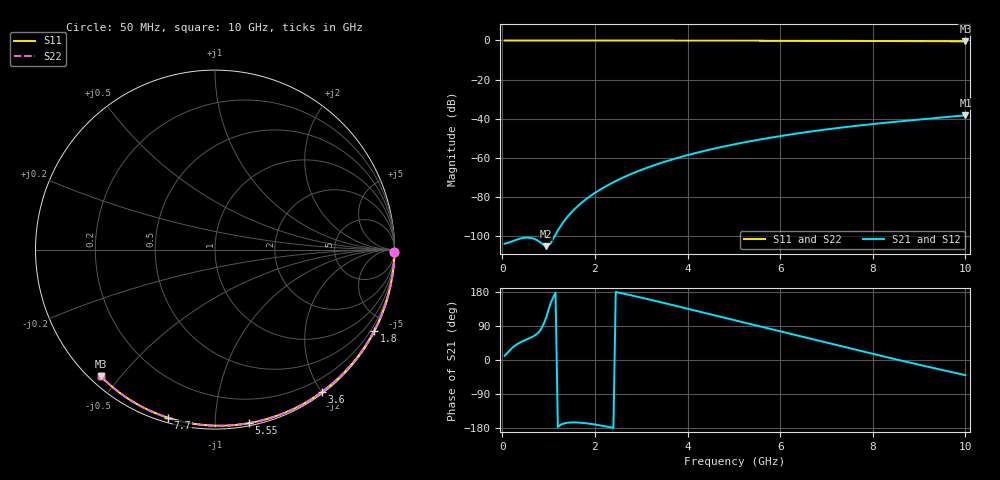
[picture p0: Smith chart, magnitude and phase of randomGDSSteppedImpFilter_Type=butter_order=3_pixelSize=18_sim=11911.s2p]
! freq	dB(S11)	phase(S11)	dB(S12)	phase(S12)
!  dB(S21)	phase(S21)	dB(S22)	phase(S22)
!S-par simulation data
#  GHz  S  DB  R 50
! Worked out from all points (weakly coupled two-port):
!   200 points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, 50 MHz to 10 GHz, reference 50 ohm
!   highest |S21| = -38.33 dB at 10 GHz (marker M1); lowest = -105.4 dB at 950 MHz (marker M2)
!   lowest |S11| = -0.4 dB at 10 GHz (marker M3), VSWR 39.00, Z = 1.54 - j22.2 ohm
!   |S11| at or under -10 dB: nowhere
!   |S22| runs from -0.4 to 0.0 dB; largest |S21 - S12| = 0
!   S11 on the Smith chart (normalised r, x): 50 MHz: open; 1.8 GHz: 0.04, -4.15; 3.6 GHz: 0.02, -2.01; 5.55 GHz: 0.02, -1.21; 7.7 GHz: 0.02, -0.76; 10 GHz: 0.03, -0.44
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0.05  -0.00 -0.8  -104.07 11.1  -104.07 11.1  -0.00 -0.8
0.5  -0.01 -7.6  -101.01 52.9  -101.01 52.9  -0.01 -7.6
0.95  -0.02 -14.4  -105.35 112.4  -105.35 112.4  -0.02 -14.4
1.75  -0.03 -26.3  -82.39 -166.1  -82.39 -166.1  -0.03 -26.3
1.8  -0.03 -27.1  -81.45 -166.8  -81.45 -166.8  -0.03 -27.1
1.85  -0.04 -27.8  -80.56 -167.5  -80.56 -167.5  -0.04 -27.8
1.9  -0.04 -28.5  -79.70 -168.4  -79.70 -168.4  -0.04 -28.6
2.05  -0.04 -30.8  -77.32 -171.2  -77.32 -171.2  -0.04 -30.8
2.25  -0.04 -33.7  -74.50 -175.6  -74.50 -175.6  -0.04 -33.7
2.65  -0.05 -39.5  -69.75 174.3  -69.75 174.3  -0.05 -39.5
3  -0.06 -44.5  -66.31 164.6  -66.31 164.6  -0.06 -44.5
3.4  -0.07 -50.1  -62.94 153.1  -62.94 153.1  -0.07 -50.1
3.6  -0.07 -52.9  -61.43 147.2  -61.43 147.2  -0.07 -52.9
4.3  -0.09 -62.6  -56.92 126.4  -56.92 126.4  -0.09 -62.6
5.05  -0.11 -72.6  -53.01 104.0  -53.01 104.0  -0.11 -72.6
5.55  -0.13 -79.1  -50.78 89.1  -50.78 89.1  -0.13 -79.1
6.1  -0.15 -86.0  -48.61 72.7  -48.61 72.7  -0.15 -86.1
6.7  -0.18 -93.5  -46.51 54.8  -46.51 54.8  -0.18 -93.5
7.7  -0.24 -105.6  -43.58 25.0  -43.58 25.0  -0.24 -105.6
8.35  -0.29 -113.2  -41.98 6.0  -41.98 6.0  -0.29 -113.2
9.15  -0.36 -122.4  -40.21 -16.7  -40.21 -16.7  -0.36 -122.4
10  -0.45 -132.1  -38.33 -40.1  -38.33 -40.1  -0.45 -132.1
